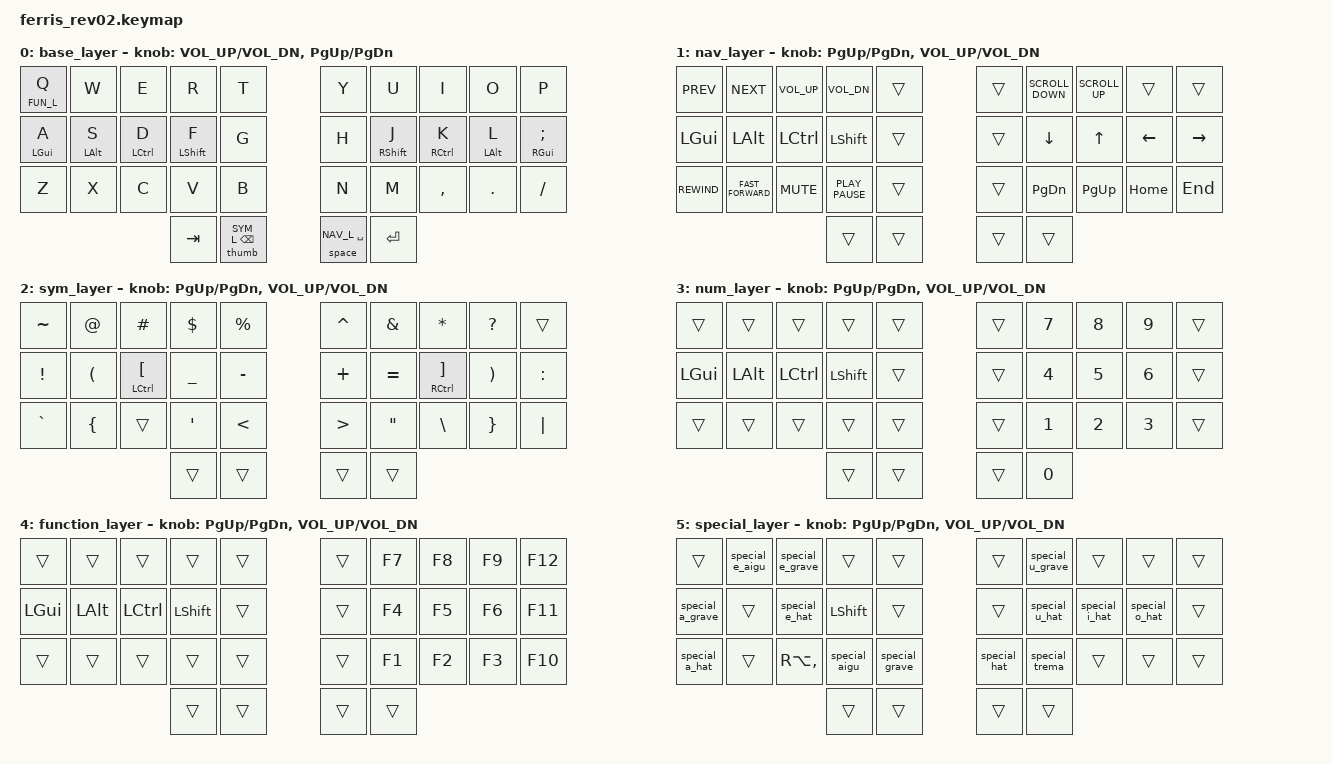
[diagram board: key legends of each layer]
/*
 * Copyright (c) 2021-2022 The ZMK Contributors
 *
 * SPDX-License-Identifier: MIT
 */

#include <behaviors.dtsi>
#include <dt-bindings/zmk/bt.h>
#include <dt-bindings/zmk/ext_power.h>
#include <dt-bindings/zmk/keys.h>
#include <dt-bindings/zmk/outputs.h>



#define BASE_L 0
#define NAV_L 1
#define SYM_L 2
#define NUM_L 3
#define FUN_L 4
#define SPE_L 5

// Keyboard keys positions
//  0  1  2  3  4              5  6  7  8  9
// 10 11 12 13 14             15 16 17 18 19
// 20 21 22 23 24             25 26 27 28 29
//             30 31       32 33
#define LEFT_HAND_KEYS                                      \
 0  1  2  3  4                                              \
10 11 12 13 14                                              \
20 21 22 23 24                                              

#define RIGHT_HAND_KEYS                                     \
                               5  6  7  8  9                \
                              15 16 17 18 19                \
                              25 26 27 28 29

#define THUMB_KEYS                                          \
                      30 31 32 33



/ {
        macros {
                #include "macros.dtsi"
        };

        combos {
                // Keyboard keys positions
                //  0  1  2  3  4              5  6  7  8  9
                // 10 11 12 13 14             15 16 17 18 19
                // 20 21 22 23 24             25 26 27 28 29
                //             30 31       32 33
                #define ESC_COMBO_KEYS 12 17
                #define ESC_2_COMBO_KEYS 11 12
                #define ENTER_COMBO_KEYS 12 13
                #define ENTER_CTRL_COMBO_KEYS 11 12 13
                #define CAPS_COMBO_KEYS 13 16
                #define APPS_COMBO_KEYS 10 19
                #define VIM_SAVE_COMBO_KEYS 19 1
                #define VIM_SAVE_QUIT_COMBO_KEYS 19 0
                #define CTLA_COMBO_KEYS 10 11
                #define COPY_COMBO_KEYS 20 21
                #define CUT_COMBO_KEYS 21 22
                #define PASTE_COMBO_KEYS 22 23
                #define PASTE_SHIFT_COMBO_KEYS 23 24
                #include "combos.dtsi"
        };
         
        behaviors {
                #include "home_rows.dtsi"
        };

        keymap {
                compatible = "zmk,keymap";

                base_layer {
                        bindings = <

&lt FUN_L Q   &kp W         &kp E          &kp R           &kp T                     &kp Y  &kp U           &kp I          &kp O         &kp P
&hmrl LGUI A  &hmrl LALT S  &hmrl LCTRL D  &hmsl LSHIFT F  &kp G                     &kp H  &hmsr RSHIFT J  &hmrr RCTRL K  &hmrr LALT L  &hmrr RGUI SEMI
&kp Z         &kp X         &kp C          &kp V           &kp B                     &kp N  &kp M           &kp COMMA      &kp DOT       &kp SLASH
                                                  &kp TAB  &thumb SYM_L BACKSPACE    &space NAV_L SPACE  &kp ENTER
                        >;
			
                        sensor-bindings = <&inc_dec_kp C_VOL_UP C_VOL_DN &inc_dec_kp PG_UP PG_DN>;
                };
		
                 nav_layer {
                         bindings = <
 &kp K_PREV    &kp K_NEXT          &kp K_VOL_UP  &kp K_VOL_DN      &trans            &trans  &kp K_SCROLL_DOWN  &kp K_SCROLL_UP  &trans    &trans   
 &kp LGUI      &kp LALT            &kp LCTRL     &kp LSHIFT        &trans            &trans  &kp DOWN           &kp UP           &kp LEFT  &kp RIGHT
 &kp C_REWIND  &kp C_FAST_FORWARD  &kp K_MUTE    &kp K_PLAY_PAUSE  &trans            &trans  &kp PAGE_DOWN      &kp PAGE_UP      &kp HOME  &kp END  
                                                           &trans  &trans            &trans  &trans
                         >;
 		
                         sensor-bindings = <&inc_dec_kp PG_UP PG_DN &inc_dec_kp C_VOL_UP C_VOL_DN>;
                 };

                 sym_layer {
                        bindings = <
&kp TILDE  &kp AT                &kp HASH                &kp DOLLAR        &kp PERCENT                 &kp CARET         &kp AMPS           &kp ASTRK                &kp QUESTION           &trans   
&kp EXCL   &kp LEFT_PARENTHESIS  &mt LCTRL LEFT_BRACKET  &kp UNDERSCORE    &kp MINUS                   &kp PLUS          &kp EQUAL          &mt RCTRL RIGHT_BRACKET  &kp RIGHT_PARENTHESIS  &kp COLON
&kp GRAVE  &kp LEFT_BRACE        &trans                  &kp SINGLE_QUOTE  &kp LESS_THAN               &kp GREATER_THAN  &kp DOUBLE_QUOTES  &kp BACKSLASH            &kp RIGHT_BRACE        &kp PIPE 
                                                                   &trans  &trans                      &trans  &trans 
                        >;
			
                        sensor-bindings = <&inc_dec_kp PG_UP PG_DN &inc_dec_kp C_VOL_UP C_VOL_DN>;
                };

                 num_layer {
                        bindings = <
&trans    &trans    &trans     &trans     &trans             &trans  &kp NUMBER_7  &kp NUMBER_8  &kp NUMBER_9  &trans
&kp LGUI  &kp LALT  &kp LCTRL  &kp LSHFT  &trans             &trans  &kp NUMBER_4  &kp NUMBER_5  &kp NUMBER_6  &trans
&trans    &trans    &trans     &trans     &trans             &trans  &kp NUMBER_1  &kp NUMBER_2  &kp NUMBER_3  &trans        
                                                &trans  &trans  &trans &kp NUMBER_0 
                        >;
			
                        sensor-bindings = <&inc_dec_kp PG_UP PG_DN &inc_dec_kp C_VOL_UP C_VOL_DN>;
                };

                 function_layer {
                        bindings = <
&trans    &trans    &trans     &trans     &trans                &trans  &kp F7  &kp F8  &kp F9  &kp F12
&kp LGUI  &kp LALT  &kp LCTRL  &kp LSHFT  &trans                &trans  &kp F4  &kp F5  &kp F6  &kp F11
&trans    &trans    &trans     &trans     &trans                &trans  &kp F1  &kp F2  &kp F3  &kp F10         
                                        &trans  &trans      &trans  &trans
                        >;
                        			
                                                
                        sensor-bindings = <&inc_dec_kp PG_UP PG_DN &inc_dec_kp C_VOL_UP C_VOL_DN>;
                };
                 special_layer {
                        bindings = <
&trans            &special_e_aigu  &special_e_grave  &trans         &trans                         &trans        &special_u_grave  &trans          &trans          &trans
&special_a_grave  &trans           &special_e_hat    &kp LSHFT      &trans                         &trans        &special_u_hat    &special_i_hat  &special_o_hat  &trans
&special_a_hat    &trans           &kp RA(COMMA)     &special_aigu  &special_grave                 &special_hat  &special_trema    &trans          &trans          &trans         
                                                                                  &trans  &trans  &trans  &trans
                        >;
			
                        sensor-bindings = <&inc_dec_kp PG_UP PG_DN &inc_dec_kp C_VOL_UP C_VOL_DN>;
                };
        };
};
